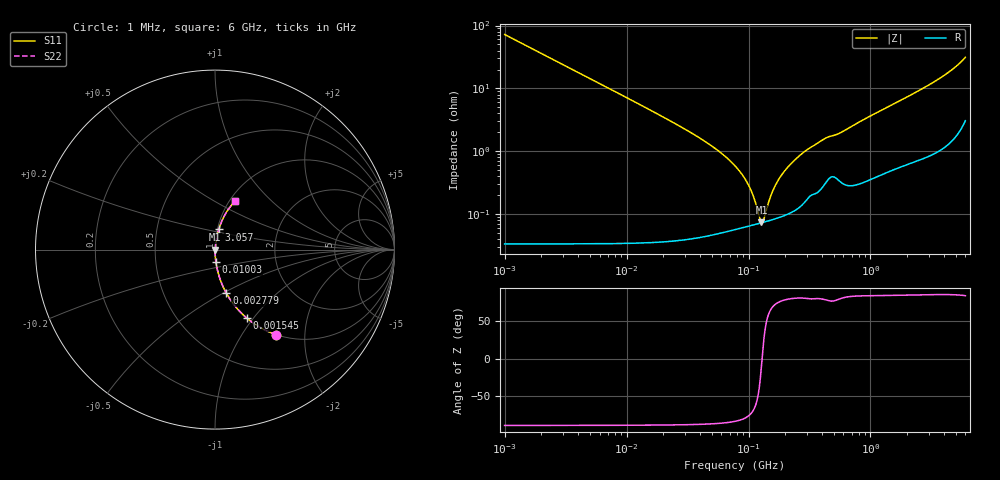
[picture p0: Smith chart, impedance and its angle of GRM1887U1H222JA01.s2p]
!Murata Part Number: GRM1887U1H222JA01
!These Parameters are Measured in Series Mode Connection
!Data Generated on Mar 30, 2021
!  o--ll--o
!Port1  Port2
!  o------o
!Operation Temp=25[degC], DC Bias Voltage=0[V]
!Freq. Start=1000[kHz] Stop=6[GHz] 401[Steps]
# Hz S RI R 50
!Freq.(Hz) S11(Real) S11(Imag) S21(Real) S21(Imag) S12(Real) S12(Imag) S22(Real) S22(Imag)
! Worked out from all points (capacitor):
!   401 points, 1 MHz to 6 GHz, reference 50 ohm
!   read as one part in series: C = 2.21 nF near 1.044 MHz
!   lowest |Z| = 74.4 mohm at 127.7 MHz (marker M1)
!   series resonance near 129.2 MHz, so ESL is about 690 pH
!   S11 on the Smith chart (normalised r, x): 1 MHz: 1.00, -1.44; 1.545 MHz: 1.00, -0.93; 2.779 MHz: 1.00, -0.52; 10.03 MHz: 1.00, -0.14; 3.057 GHz: 1.02, +0.23; 6 GHz: 1.06, +0.62
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1000000  0.3419 -0.4741  0.6581 0.4741  0.6581 0.4741  0.3419 -0.4741
1544926  0.1788 -0.3829  0.8212 0.3829  0.8212 0.3829  0.1788 -0.3829
2779283  0.0632 -0.2427  0.9368 0.2427  0.9368 0.2427  0.0632 -0.2427
4293785  0.0276 -0.163  0.9724 0.163  0.9724 0.163  0.0276 -0.163
1.00279e7  0.00541 -0.071  0.9946 0.071  0.9946 0.071  0.00541 -0.071
1.843659e7  0.00182 -0.0382  0.9982 0.0382  0.9982 0.0382  0.00182 -0.0382
4.596069e7  0.000635 -0.0136  0.9994 0.0136  0.9994 0.0136  0.000635 -0.0136
7.745967e7  0.000605 -0.00587  0.9994 0.00587  0.9994 0.00587  0.000605 -0.00587
9.019724e7  0.000631 -0.00402  0.9994 0.00402  0.9994 0.00402  0.000631 -0.00402
1.005588e8  0.000656 -0.00277  0.9993 0.00277  0.9993 0.00277  0.000656 -0.00277
1.096987e8  0.000681 -0.0018  0.9993 0.0018  0.9993 0.0018  0.000681 -0.0018
1.223006e8  0.000717 -0.000601  0.9993 0.000601  0.9993 0.000601  0.000717 -0.000601
1.277378e8  0.000733 -0.000126  0.9993 0.000126  0.9993 0.000126  0.000733 -0.000126
1.334167e8  0.00075 0.000348  0.9993 -0.000348  0.9993 -0.000348  0.00075 0.000348
1.587717e8  0.000831 0.00226  0.9992 -0.00226  0.9992 -0.00226  0.000831 0.00226
1.848803e8  0.000927 0.00399  0.9991 -0.00399  0.9991 -0.00399  0.000927 0.00399
2.400133e8  0.0012 0.00723  0.9988 -0.00723  0.9988 -0.00723  0.0012 0.00723
3.325952e8  0.00218 0.0117  0.9978 -0.0117  0.9978 -0.0117  0.00218 0.0117
1.428092e9  0.00745 0.0515  0.9926 -0.0515  0.9926 -0.0515  0.00745 0.0515
3.057346e9  0.0212 0.112  0.9788 -0.112  0.9788 -0.112  0.0212 0.112
4.621753e9  0.0496 0.1835  0.9504 -0.1835  0.9504 -0.1835  0.0496 0.1835
6e9  0.1111 0.2688  0.8889 -0.2688  0.8889 -0.2688  0.1111 0.2688
